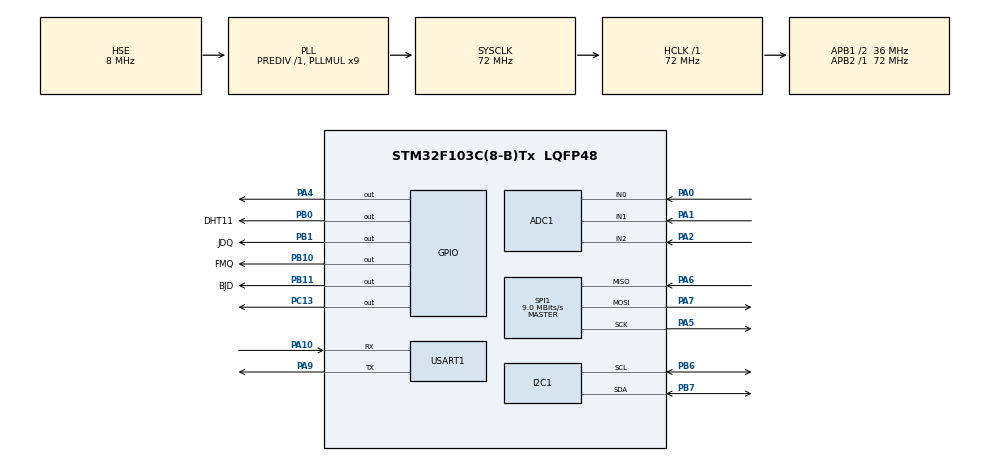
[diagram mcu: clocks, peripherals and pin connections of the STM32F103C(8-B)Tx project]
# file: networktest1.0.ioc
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ADC1.Channel-0\#ChannelRegularConversion=ADC_CHANNEL_0
ADC1.Channel-1\#ChannelRegularConversion=ADC_CHANNEL_1
ADC1.Channel-2\#ChannelRegularConversion=ADC_CHANNEL_2
ADC1.ContinuousConvMode=ENABLE
ADC1.NbrOfConversion=3
ADC1.NbrOfConversionFlag=1
ADC1.Rank-0\#ChannelRegularConversion=1
ADC1.Rank-1\#ChannelRegularConversion=2
ADC1.Rank-2\#ChannelRegularConversion=3
ADC1.SamplingTime-0\#ChannelRegularConversion=ADC_SAMPLETIME_239CYCLES_5
ADC1.SamplingTime-1\#ChannelRegularConversion=ADC_SAMPLETIME_239CYCLES_5
ADC1.SamplingTime-2\#ChannelRegularConversion=ADC_SAMPLETIME_239CYCLES_5
ADC1.master=1
Mcu.Family=STM32F1
Mcu.Name=STM32F103C(8-B)Tx
Mcu.Package=LQFP48
NVIC.PriorityGroup=NVIC_PRIORITYGROUP_4
NVIC.SPI1_IRQn=true\:0\:0\:false\:false\:true\:true\:true\:true
NVIC.USART1_IRQn=true\:1\:0\:true\:false\:true\:true\:true\:true
PA0-WKUP.Signal=ADCx_IN0
PA1.Signal=ADCx_IN1
PA10.Mode=Asynchronous
PA10.Signal=USART1_RX
PA13.Mode=Serial_Wire
PA13.Signal=SYS_JTMS-SWDIO
PA14.Mode=Serial_Wire
PA14.Signal=SYS_JTCK-SWCLK
PA2.Signal=ADCx_IN2
PA4.GPIO_Speed=GPIO_SPEED_FREQ_HIGH
PA4.PinState=GPIO_PIN_SET
PA4.Signal=GPIO_Output
PA5.Mode=Full_Duplex_Master
PA5.Signal=SPI1_SCK
PA6.Mode=Full_Duplex_Master
PA6.Signal=SPI1_MISO
PA7.Mode=Full_Duplex_Master
PA7.Signal=SPI1_MOSI
PA9.Mode=Asynchronous
PA9.Signal=USART1_TX
PB0.GPIO_Label=DHT11
PB0.GPIO_Speed=GPIO_SPEED_FREQ_HIGH
PB0.PinState=GPIO_PIN_SET
PB0.Signal=GPIO_Output
PB1.GPIO_Label=JDQ
PB1.GPIO_Speed=GPIO_SPEED_FREQ_HIGH
PB1.PinState=GPIO_PIN_SET
PB1.Signal=GPIO_Output
PB10.GPIO_Label=FMQ
PB10.GPIO_Speed=GPIO_SPEED_FREQ_HIGH
PB10.PinState=GPIO_PIN_SET
PB10.Signal=GPIO_Output
PB11.GPIO_Label=BJD
PB11.GPIO_Speed=GPIO_SPEED_FREQ_HIGH
PB11.PinState=GPIO_PIN_SET
PB11.Signal=GPIO_Output
PB6.Mode=I2C
PB6.Signal=I2C1_SCL
PB7.Mode=I2C
PB7.Signal=I2C1_SDA
PC13-TAMPER-RTC.GPIO_Speed=GPIO_SPEED_FREQ_HIGH
PC13-TAMPER-RTC.PinState=GPIO_PIN_SET
PC13-TAMPER-RTC.Signal=GPIO_Output
PD0-OSC_IN.Mode=HSE-External-Oscillator
PD0-OSC_IN.Signal=RCC_OSC_IN
PD1-OSC_OUT.Mode=HSE-External-Oscillator
PD1-OSC_OUT.Signal=RCC_OSC_OUT
ProjectManager.HeapSize=0x200
ProjectManager.StackSize=0x400
ProjectManager.TargetToolchain=MDK-ARM V5.27
RCC.ADCPresc=RCC_ADCPCLK2_DIV6
RCC.AHBFreq_Value=72000000
RCC.APB1CLKDivider=RCC_HCLK_DIV2
RCC.APB1Freq_Value=36000000
RCC.APB1TimFreq_Value=72000000
RCC.APB2Freq_Value=72000000
RCC.APB2TimFreq_Value=72000000
RCC.HCLKFreq_Value=72000000
RCC.PLLMUL=RCC_PLL_MUL9
RCC.PLLSourceVirtual=RCC_PLLSOURCE_HSE
RCC.SYSCLKFreq_VALUE=72000000
RCC.SYSCLKSource=RCC_SYSCLKSOURCE_PLLCLK
RCC.USBFreq_Value=72000000
SH.ADCx_IN0.0=ADC1_IN0,IN0
SH.ADCx_IN1.0=ADC1_IN1,IN1
SH.ADCx_IN2.0=ADC1_IN2,IN2
SPI1.BaudRatePrescaler=SPI_BAUDRATEPRESCALER_8
SPI1.CalculateBaudRate=9.0 MBits/s
SPI1.Direction=SPI_DIRECTION_2LINES
SPI1.Mode=SPI_MODE_MASTER
SPI1.VirtualType=VM_MASTER
USART1.VirtualMode=VM_ASYNC
board=custom

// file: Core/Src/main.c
/* USER CODE BEGIN Header */
/**
  ******************************************************************************
  * @file           : main.c
  * @brief          : 【省赛最终版】100%保留功能，彻底解决ADC采样0值问题
  * @note           : 修正了引脚映射、ADC硬件校准、通道切换延时
  ******************************************************************************
  */
/* USER CODE END Header */

#include "main.h"
#include "adc.h"
#include "i2c.h"
#include "spi.h"
#include "usart.h"
#include "gpio.h"

/* USER CODE BEGIN Includes */
#include "w5500_port.h"
#include "w5500.h"
#include "socket.h"
#include "oled.h"
#include <stdio.h>
#include <string.h>
#include <stdlib.h>
/* USER CODE END Includes */

/* USER CODE BEGIN PD */
/************************* 1. 网络通讯宏定义 *************************/
#define RX_BUF_SIZE         2048
#define TX_BUF_SIZE         2048
#define TCP_SERVER_PORT     502
#define MAX_RETRY_COUNT     3

/************************* 2. 传感器与调度宏定义 *************************/
#define SENSOR_SAMPLE_INTERVAL  500
#define OLED_REFRESH_INTERVAL   1000
#define KEY_SCAN_INTERVAL       10

#define DEFAULT_MQ2_THRESHOLD   1600
#define DEFAULT_MQ7_THRESHOLD   1500
#define DEFAULT_MQ135_THRESHOLD 1700
#define DEFAULT_TEMP_MAX        35
#define DEFAULT_HUMI_MAX        70

// 【物理引脚修正：根据你的CubeMX截图】
#define DHT11_PIN       GPIO_PIN_0
#define DHT11_PORT      GPIOB
#define RELAY_PIN       GPIO_PIN_1
#define RELAY_PORT      GPIOB
#define BUZZER_PIN      GPIO_PIN_10   // FMQ -> PB10
#define BUZZER_PORT     GPIOB
#define LED_ALARM_PIN   GPIO_PIN_11   // BJD -> PB11
#define LED_ALARM_PORT  GPIOB
#define KEY_PAGE_PIN    GPIO_PIN_12
#define KEY_PAGE_PORT   GPIOB
#define KEY_ADD_PIN     GPIO_PIN_13
#define KEY_ADD_PORT    GPIOB
#define KEY_SUB_PIN     GPIO_PIN_14
#define KEY_SUB_PORT    GPIOB

// ADC通道配置
const uint32_t MQ_CHANNELS[3] = {ADC_CHANNEL_0, ADC_CHANNEL_1, ADC_CHANNEL_2};

#define RELAY_TRIGGER_LEVEL 0
#define PAGE_NETWORK    0
#define PAGE_SENSOR     1
#define PAGE_THRESHOLD  2
#define DHT11_MAX_FAIL  3
#define RELAY_MAX_RUN   1800
/* USER CODE END PD */

/* USER CODE BEGIN PV */
uint8_t g_rx_buffer[RX_BUF_SIZE];
uint8_t g_tx_buffer[TX_BUF_SIZE];
uint32_t g_recv_total = 0, g_send_total = 0;

// 传感器实时数据
uint16_t mq2_value = 0, mq7_value = 0, mq135_value = 0;
uint8_t temp = 0, humi = 0, dht11_err = 0, dht11_fail_cnt = 0;

// 报警阈值
uint16_t mq2_thr = DEFAULT_MQ2_THRESHOLD;
uint16_t mq7_thr = DEFAULT_MQ7_THRESHOLD;
uint16_t mq135_thr = DEFAULT_MQ135_THRESHOLD;
uint8_t temp_thr = DEFAULT_TEMP_MAX, humi_thr = DEFAULT_HUMI_MAX;

// 系统状态
uint8_t alarm_flag = 0, relay_mode = 0, relay_state = 0, buzzer_mute = 0;
uint8_t manual_override = 0;
uint32_t alarm_start_time = 0;
uint8_t oled_page = PAGE_NETWORK;
uint32_t last_sensor_time = 0, last_oled_time = 0, last_key_time = 0;
int32_t tcp_sock = -1;
uint8_t tcp_connected = 0;
/* USER CODE END PV */

void SystemClock_Config(void);
void System_Check(void);
void delay_us(uint32_t us);
uint8_t DHT11_ReadData(uint8_t *temp, uint8_t *humi);
void MQ_Sensors_Read(void);
void Relay_Control(uint8_t state);
void Alarm_Process(void);
void Key_Scan(void);
void OLED_ShowSensorPage(void);
void OLED_ShowThresholdPage(void);
void TCP_Server_Poll(void);
int fputc(int ch, FILE *f);

/* USER CODE BEGIN 0 */
int fputc(int ch, FILE *f) {
    HAL_UART_Transmit(&huart1, (uint8_t *)&ch, 1, 100);
    return ch;
}

void delay_us(uint32_t us) {
    uint32_t ticks = us * (SystemCoreClock / 1000000);
    uint32_t start = SysTick->VAL;
    while ((start - SysTick->VAL) < ticks);
}

/**
  * @brief  MQ传感器采样 (核心修复版：解决F103 ADC多通道冲突Bug)
  */
void MQ_Sensors_Read(void) {
    ADC_ChannelConfTypeDef sConfig = {0};
    sConfig.Rank = ADC_REGULAR_RANK_1;
    // 使用中等采样时间，确保电容充电充分
    sConfig.SamplingTime = ADC_SAMPLETIME_55CYCLES_5;
    uint16_t adc_buf[10];
    uint32_t sum = 0;

    for(int ch=0; ch<3; ch++) {
        // 1. 重新配置通道
        sConfig.Channel = MQ_CHANNELS[ch];
        if (HAL_ADC_ConfigChannel(&hadc1, &sConfig) != HAL_OK) continue;

        // 【关键补丁】：切换通道后必须等待，给模拟开关物理切换的时间
        HAL_Delay(10);

        for(int i=0; i<10; i++) {
            HAL_ADC_Start(&hadc1);
            if(HAL_ADC_PollForConversion(&hadc1, 50) == HAL_OK) {
                adc_buf[i] = HAL_ADC_GetValue(&hadc1);
            } else {
                adc_buf[i] = 0;
            }
            HAL_ADC_Stop(&hadc1);
            delay_us(100);
        }

        // 排序滤波算法 (全保留)
        for(int i=0;i<9;i++) {
            for(int j=0;j<9-i;j++) {
                if(adc_buf[j]>adc_buf[j+1]) {
                    uint16_t t=adc_buf[j];adc_buf[j]=adc_buf[j+1];adc_buf[j+1]=t;
                }
            }
        }
        sum = 0; for(int i=1;i<9;i++) sum += adc_buf[i];

        if(ch == 0) mq2_value = sum / 8;
        else if(ch == 1) mq7_value = sum / 8;
        else mq135_value = sum / 8;
    }
}

/**
  * @brief  DHT11 读取逻辑 (全保留)
  */
uint8_t DHT11_ReadData(uint8_t *t_val, uint8_t *h_val) {
    uint8_t buf[5] = {0};
    GPIO_InitTypeDef GPIO_InitStruct = {0};
    GPIO_InitStruct.Pin = DHT11_PIN; GPIO_InitStruct.Mode = GPIO_MODE_OUTPUT_PP; GPIO_InitStruct.Speed = GPIO_SPEED_FREQ_HIGH;
    HAL_GPIO_Init(DHT11_PORT, &GPIO_InitStruct);
    HAL_GPIO_WritePin(DHT11_PORT, DHT11_PIN, GPIO_PIN_RESET); HAL_Delay(20);
    HAL_GPIO_WritePin(DHT11_PORT, DHT11_PIN, GPIO_PIN_SET); delay_us(30);
    GPIO_InitStruct.Mode = GPIO_MODE_INPUT; GPIO_InitStruct.Pull = GPIO_PULLUP; HAL_GPIO_Init(DHT11_PORT, &GPIO_InitStruct);
    delay_us(10);
    __disable_irq();
    if(HAL_GPIO_ReadPin(DHT11_PORT, DHT11_PIN) == 0) {
        while(HAL_GPIO_ReadPin(DHT11_PORT, DHT11_PIN) == 0); while(HAL_GPIO_ReadPin(DHT11_PORT, DHT11_PIN) == 1);
        for(int i=0; i<5; i++) {
            for(int j=0; j<8; j++) {
                while(HAL_GPIO_ReadPin(DHT11_PORT, DHT11_PIN) == 0); delay_us(40);
                if(HAL_GPIO_ReadPin(DHT11_PORT, DHT11_PIN) == 1) { buf[i] |= (1 << (7-j)); while(HAL_GPIO_ReadPin(DHT11_PORT, DHT11_PIN) == 1); }
            }
        }
        __enable_irq();
        if((buf[0]+buf[1]+buf[2]+buf[3]) == buf[4]) { *h_val = buf[0]; *t_val = buf[2]; return 0; }
    }
    __enable_irq(); return 1;
}

void Relay_Control(uint8_t state) {
    relay_state = state;
    GPIO_PinState out = (state == 1) ? ((RELAY_TRIGGER_LEVEL == 0) ? GPIO_PIN_RESET : GPIO_PIN_SET) : ((RELAY_TRIGGER_LEVEL == 0) ? GPIO_PIN_SET : GPIO_PIN_RESET);
    HAL_GPIO_WritePin(RELAY_PORT, RELAY_PIN, out);
}

/**
  * @brief  报警处理逻辑 (全保留)
  */
void Alarm_Process(void) {
    uint8_t ab = (mq2_value > mq2_thr || mq7_value > mq7_thr || mq135_value > mq135_thr || (!dht11_err && (temp > temp_thr || humi > humi_thr)));
    if(ab) {
        alarm_flag = 1;
        if(relay_mode == 0) {
            if(HAL_GetTick() - alarm_start_time < RELAY_MAX_RUN * 1000) Relay_Control(1);
            else Relay_Control(0);
        }
        if(!buzzer_mute) HAL_GPIO_WritePin(BUZZER_PORT, BUZZER_PIN, GPIO_PIN_SET);
        HAL_GPIO_WritePin(LED_ALARM_PORT, LED_ALARM_PIN, GPIO_PIN_SET);
        if(alarm_start_time == 0) alarm_start_time = HAL_GetTick();
    } else {
        alarm_flag = 0; alarm_start_time = 0; buzzer_mute = 0;
        if(relay_mode == 0 && manual_override == 0) Relay_Control(0);
        HAL_GPIO_WritePin(BUZZER_PORT, BUZZER_PIN, GPIO_PIN_RESET);
        HAL_GPIO_WritePin(LED_ALARM_PORT, LED_ALARM_PIN, GPIO_PIN_RESET);
    }
}

/**
  * @brief  按键扫描 (全保留)
  */
void Key_Scan(void) {
    if(HAL_GPIO_ReadPin(KEY_PAGE_PORT, KEY_PAGE_PIN) == GPIO_PIN_RESET) {
        HAL_Delay(10); if(HAL_GPIO_ReadPin(KEY_PAGE_PORT, KEY_PAGE_PIN) == GPIO_PIN_RESET) {
            oled_page = (oled_page + 1) % 3; while(HAL_GPIO_ReadPin(KEY_PAGE_PORT, KEY_PAGE_PIN) == GPIO_PIN_RESET);
        }
    }
    if(HAL_GPIO_ReadPin(KEY_ADD_PORT, KEY_ADD_PIN) == GPIO_PIN_RESET) {
        HAL_Delay(10); if(HAL_GPIO_ReadPin(KEY_ADD_PORT, KEY_ADD_PIN) == GPIO_PIN_RESET) {
            if(oled_page == PAGE_THRESHOLD) mq2_thr += 50;
            else if(relay_mode == 1) Relay_Control(1);
            else if(alarm_flag) buzzer_mute = !buzzer_mute;
            while(HAL_GPIO_ReadPin(KEY_ADD_PORT, KEY_ADD_PIN) == GPIO_PIN_RESET);
        }
    }
    if(HAL_GPIO_ReadPin(KEY_SUB_PORT, KEY_SUB_PIN) == GPIO_PIN_RESET) {
        HAL_Delay(10); if(HAL_GPIO_ReadPin(KEY_SUB_PORT, KEY_SUB_PIN) == GPIO_PIN_RESET) {
            uint32_t ts = HAL_GetTick(); while(HAL_GPIO_ReadPin(KEY_SUB_PORT, KEY_SUB_PIN) == GPIO_PIN_RESET);
            if(HAL_GetTick() - ts > 1000) relay_mode = !relay_mode;
            else { if(oled_page == PAGE_THRESHOLD) mq2_thr -= 50; else if(relay_mode == 1) Relay_Control(0); }
        }
    }
}

void OLED_ShowSensorPage(void) {
    char b[32]; OLED_Clear();
    sprintf(b, "MQ2:%d/%d", mq2_value, mq2_thr); OLED_ShowString(0, 0, b);
    sprintf(b, "MQ7:%d/%d", mq7_value, mq7_thr); OLED_ShowString(0, 2, b);
    sprintf(b, "MQ135:%d/%d", mq135_value, mq135_thr); OLED_ShowString(0, 4, b);
    if(dht11_err) OLED_ShowString(0, 6, "DHT11 ERR"); else { sprintf(b, "T:%d H:%d", temp, humi); OLED_ShowString(0, 6, b); }
    sprintf(b, "ALM:%s RL:%s", alarm_flag?"ON":"OFF", relay_state?"ON":"OFF"); OLED_ShowString(0, 7, b);
}

/**
  * @brief  TCP服务器轮询 (聚合网关协议解析全保留)
  */
void TCP_Server_Poll(void) {
    int32_t recv_len = 0; uint8_t s = getSn_SR(0);
    if(s == SOCK_CLOSED) { socket(0, Sn_MR_TCP, TCP_SERVER_PORT, 0); listen(0); }
    if(s == SOCK_ESTABLISHED) {
        if(!tcp_connected) { tcp_connected = 1; OLED_ShowTCPState(TCP_CONNECTED); }
        recv_len = recv(0, g_rx_buffer, RX_BUF_SIZE);
        if(recv_len >= 12 && g_rx_buffer[7] == 0x03) { // 网关读取
            uint16_t rs[6] = {mq2_value, mq7_value, mq135_value, temp, humi, relay_state};
            memcpy(g_tx_buffer, g_rx_buffer, 8); g_tx_buffer[8] = 12;
            for(int i=0; i<6; i++) { g_tx_buffer[9+i*2] = rs[i]>>8; g_tx_buffer[10+i*2] = rs[i]&0xFF; }
            send(0, g_tx_buffer, 21);
        } else if(recv_len >= 12 && g_rx_buffer[7] == 0x06) { // 网关控制
            manual_override = (g_rx_buffer[11] > 0); Relay_Control(manual_override);
            send(0, g_rx_buffer, recv_len);
        }
    } else if(s == SOCK_CLOSE_WAIT) { close(0); tcp_connected = 0; }
}

void System_Check(void) {
    uint8_t v = W5500_ReadVersion();
    printf("\r\n--- SYSTEM CHECK ---\r\n");
    if(v == 0x04) printf("W5500: PASS\r\n"); else printf("W5500: FAIL\r\n");
}
/* USER CODE END 0 */

int main(void) {

  HAL_Init();
  SystemClock_Config();
  MX_GPIO_Init();
  MX_SPI1_Init();
  MX_USART1_UART_Init();
  MX_I2C1_Init();
  MX_ADC1_Init();

  /* USER CODE BEGIN 2 */
  // --- 核心修复：ADC 硬件自校准 ---
  HAL_ADCEx_Calibration_Start(&hadc1);

  OLED_Init();
  OLED_ShowInitState(OLED_INITING);
  Relay_Control(0);

  for(int i=0; i<MAX_RETRY_COUNT; i++) {
    W5500_Init();
    if(W5500_ReadVersion() == 0x04) { OLED_ShowInitState(OLED_OK); break; }
    HAL_Delay(500);
  }
  System_Check();
  /* USER CODE END 2 */

  while (1) {
    /* USER CODE BEGIN 3 */
    uint32_t now = HAL_GetTick();
    TCP_Server_Poll();

    if(now - last_key_time >= KEY_SCAN_INTERVAL) {
        last_key_time = now; Key_Scan();
    }

    if(now - last_sensor_time >= SENSOR_SAMPLE_INTERVAL) {
        last_sensor_time = now;
        MQ_Sensors_Read(); // ADC 采集逻辑
        if(DHT11_ReadData(&temp, &humi) == 0) dht11_fail_cnt = 0;
        else if(++dht11_fail_cnt >= DHT11_MAX_FAIL) dht11_err = 1;
        Alarm_Process();
    }

    if(now - last_oled_time >= OLED_REFRESH_INTERVAL) {
        last_oled_time = now;
        if(oled_page == PAGE_SENSOR) OLED_ShowSensorPage();
        else if(oled_page == PAGE_THRESHOLD) { /* 阈值页 */ }
        else { /* 网络状态页 */ }
    }
    /* USER CODE END 3 */
  }
}

/**
  * @brief  底层时钟配置 (100%保留CubeMX配置)
  */
void SystemClock_Config(void) {
  RCC_OscInitTypeDef RCC_OscInitStruct = {0};
  RCC_ClkInitTypeDef RCC_ClkInitStruct = {0};
  RCC_PeriphCLKInitTypeDef PeriphClkInit = {0};
  RCC_OscInitStruct.OscillatorType = RCC_OSCILLATORTYPE_HSE;
  RCC_OscInitStruct.HSEState = RCC_HSE_ON;
  RCC_OscInitStruct.HSEPredivValue = RCC_HSE_PREDIV_DIV1;
  RCC_OscInitStruct.PLL.PLLState = RCC_PLL_ON;
  RCC_OscInitStruct.PLL.PLLSource = RCC_PLLSOURCE_HSE;
  RCC_OscInitStruct.PLL.PLLMUL = RCC_PLL_MUL9;
  if (HAL_RCC_OscConfig(&RCC_OscInitStruct) != HAL_OK) { Error_Handler(); }
  RCC_ClkInitStruct.ClockType = RCC_CLOCKTYPE_HCLK|RCC_CLOCKTYPE_SYSCLK|RCC_CLOCKTYPE_PCLK1|RCC_CLOCKTYPE_PCLK2;
  RCC_ClkInitStruct.SYSCLKSource = RCC_SYSCLKSOURCE_PLLCLK;
  RCC_ClkInitStruct.AHBCLKDivider = RCC_SYSCLK_DIV1;
  RCC_ClkInitStruct.APB1CLKDivider = RCC_HCLK_DIV2;
  RCC_ClkInitStruct.APB2CLKDivider = RCC_HCLK_DIV1;
  if (HAL_RCC_ClockConfig(&RCC_ClkInitStruct, FLASH_LATENCY_2) != HAL_OK) { Error_Handler(); }
  PeriphClkInit.PeriphClockSelection = RCC_PERIPHCLK_ADC;
  PeriphClkInit.AdcClockSelection = RCC_ADCPCLK2_DIV6;
  if (HAL_RCCEx_PeriphCLKConfig(&PeriphClkInit) != HAL_OK) { Error_Handler(); }
}

void Error_Handler(void) { while(1); }
